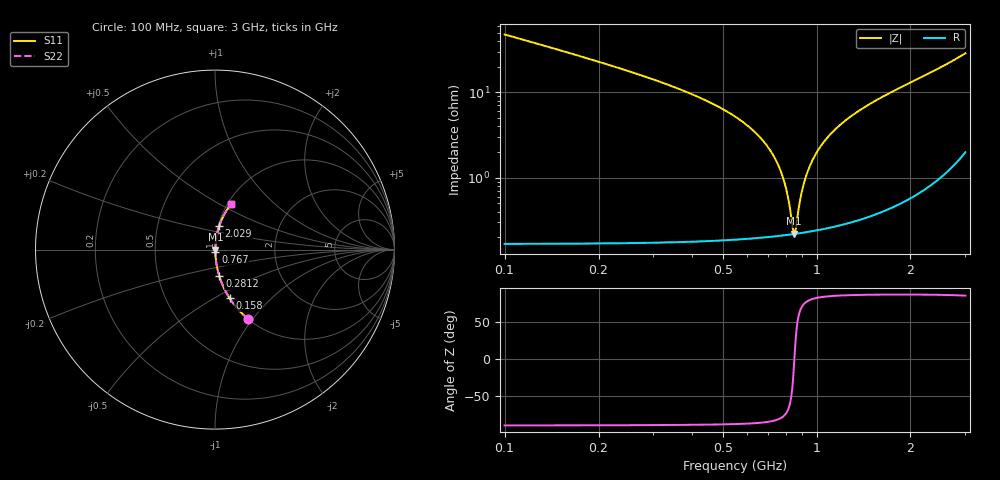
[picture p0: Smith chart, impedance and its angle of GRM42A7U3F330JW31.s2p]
!Murata Part Number: GRM42A7U3F330JW31
!These Parameters are Measured in Series Mode Connection
!Data Generated on Mar 30, 2021
!  o--ll--o
!Port1  Port2
!  o------o
!Operation Temp=25[degC], DC Bias Voltage=0[V]
!Freq. Start=100[MHz] Stop=3[GHz] 401[Steps]
# Hz S RI R 50
!Freq.(Hz) S11(Real) S11(Imag) S21(Real) S21(Imag) S12(Real) S12(Imag) S22(Real) S22(Imag)
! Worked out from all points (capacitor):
!   401 points, 100 MHz to 3 GHz, reference 50 ohm
!   read as one part in series: C = 33 pF near 114.5 MHz
!   lowest |Z| = 220 mohm at 846.8 MHz (marker M1)
!   series resonance near 848.9 MHz, so ESL is about 1.1 nH
!   S11 on the Smith chart (normalised r, x): 100 MHz: 1.00, -0.95; 158 MHz: 1.00, -0.59; 281.2 MHz: 1.00, -0.31; 767 MHz: 1.00, -0.02; 2.029 GHz: 1.01, +0.27; 3 GHz: 1.04, +0.57
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1e8  0.1854 -0.3869  0.8146 0.3869  0.8146 0.3869  0.1854 -0.3869
1.58e8  0.0813 -0.2705  0.9187 0.2705  0.9187 0.2705  0.0813 -0.2705
2.8125e8  0.0245 -0.1491  0.9755 0.1491  0.9755 0.1491  0.0245 -0.1491
5.8575e8  0.0038 -0.0435  0.9962 0.0435  0.9962 0.0435  0.0038 -0.0435
6.945e8  0.00255 -0.0233  0.9975 0.0233  0.9975 0.0233  0.00255 -0.0233
7.38e8  0.00231 -0.0162  0.9977 0.0162  0.9977 0.0162  0.00231 -0.0162
7.67e8  0.00222 -0.0118  0.9978 0.0118  0.9978 0.0118  0.00222 -0.0118
7.96e8  0.00217 -0.00747  0.9978 0.00747  0.9978 0.00747  0.00217 -0.00747
8.105e8  0.00216 -0.00538  0.9978 0.00538  0.9978 0.00538  0.00216 -0.00538
8.3225e8  0.00216 -0.0023  0.9978 0.0023  0.9978 0.0023  0.00216 -0.0023
8.4675e8  0.00218 -0.000295  0.9978 0.000295  0.9978 0.000295  0.00218 -0.000295
8.6125e8  0.0022 0.00168  0.9978 -0.00168  0.9978 -0.00168  0.0022 0.00168
8.975e8  0.00229 0.00651  0.9977 -0.00651  0.9977 -0.00651  0.00229 0.00651
9.3375e8  0.00242 0.0112  0.9976 -0.0112  0.9976 -0.0112  0.00242 0.0112
9.9175e8  0.00273 0.0184  0.9973 -0.0184  0.9973 -0.0184  0.00273 0.0184
1.0715e9  0.0033 0.0278  0.9967 -0.0278  0.9967 -0.0278  0.0033 0.0278
1.26e9  0.00529 0.0487  0.9947 -0.0487  0.9947 -0.0487  0.00529 0.0487
1.55e9  0.01 0.0791  0.99 -0.0791  0.99 -0.0791  0.01 0.0791
2.0285e9  0.0231 0.1297  0.9769 -0.1297  0.9769 -0.1297  0.0231 0.1297
2.03575e9  0.0233 0.1304  0.9767 -0.1304  0.9767 -0.1304  0.0233 0.1304
2.5215e9  0.0473 0.188  0.9527 -0.188  0.9527 -0.188  0.0473 0.188
3e9  0.0909 0.2548  0.9091 -0.2548  0.9091 -0.2548  0.0909 0.2548
